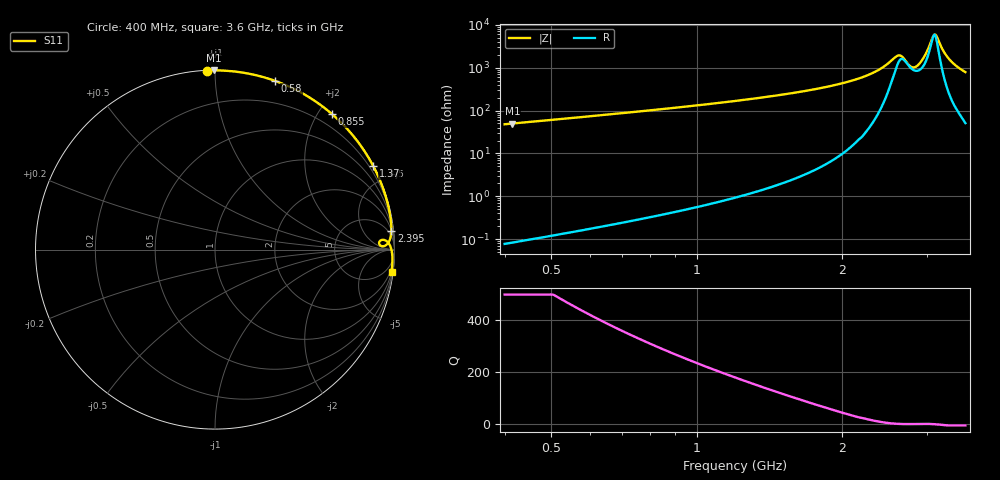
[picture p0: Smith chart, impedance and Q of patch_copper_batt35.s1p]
! patch_copper_batt35
! simulated by sim/rf_fdtd.py
# HZ S RI R 50
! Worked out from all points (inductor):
!   641 points, 400 MHz to 3.6 GHz, reference 50 ohm
!   read as one part to ground: L = 18.8 nH near 415 MHz
!   highest Q = 598 at 415 MHz (marker M1), where L = 19.1 nH
!   self-resonance near 3.1 GHz
!   S11 on the Smith chart (normalised r, x): 400 MHz: 0.00, +0.96; 580 MHz: 0.00, +1.42; 855 MHz: 0.01, +2.18; 1.37 GHz: 0.03, +4.05; 2.395 GHz: 2, +18; 3.6 GHz: 1, -16
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4e8  -0.0422 0.9975
4.15e8  -0.00421 0.9983
4.55e8  0.0911 0.994
4.95e8  0.1776 0.9821
5.35e8  0.2557 0.9646
5.8e8  0.3341 0.9402
6.3e8  0.4108 0.9093
6.85e8  0.4838 0.8725
7.4e8  0.5466 0.8345
8e8  0.6053 0.7928
8.55e8  0.6515 0.7552
9.3e8  0.7049 0.7055
1.015e9  0.7544 0.6521
1.2e9  0.8333 0.5473
1.37e9  0.8822 0.4639
1.6e9  0.9264 0.3667
2e9  0.9686 0.2271
2.395e9  0.9825 0.1061
2.4e9  0.9825 0.1045
2.56e9  0.9736 0.0537
2.675e9  0.9474 0.0218
2.735e9  0.9249 0.0207
2.8e9  0.9147 0.0406
2.855e9  0.9293 0.054
2.91e9  0.9496 0.0511
3.03e9  0.9762 0.0202
3.2e9  0.9874 -0.0277
3.6e9  0.9839 -0.1251
